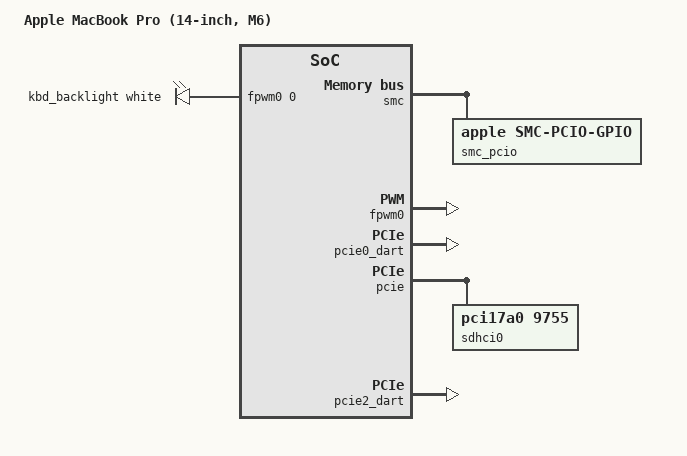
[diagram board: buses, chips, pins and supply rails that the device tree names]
// SPDX-License-Identifier: GPL-2.0+ OR MIT
/*
 * Apple MacBook Pro (14-inch, M6), J804.
 *
 * Booted from RAM by the loader (see t8152-common.dtsi). The console is the
 * framebuffer: the DockChannel UART has no reader on this board, so it stays
 * disabled. Resources follow the J804 ADT.
 */
/dts-v1/;

#include "t8152-common.dtsi"
#include <dt-bindings/leds/common.h>

/ {
	compatible = "apple,j804", "apple,t8152", "apple,arm-platform";
	model = "Apple MacBook Pro (14-inch, M6)";
	chassis-type = "laptop";

	/* Keyboard backlight: ADT fpwm0 kbd-backlight, 25 kHz. */
	led-controller {
		compatible = "pwm-leds";

		led-0 {
			pwms = <&fpwm0 0 40000>;
			label = "kbd_backlight";
			function = LED_FUNCTION_KBD_BACKLIGHT;
			color = <LED_COLOR_ID_WHITE>;
			max-brightness = <255>;
			default-state = "keep";
		};
	};
};

&pinctrl_ap {
	/* ADT no-restore-gpio-pins */
	gpio-reserved-ranges = <78 1>, <140 2>, <198 1>, <208 1>;
};

&smc {
	/*
	 * pcIO outputs. The trackpad's AFE reset is the ADT multi-touch
	 * function-afe-reset pKW8('pcIO', 0x10000, 0x1c0000): line 0.
	 */
	smc_pcio: gpio {
		compatible = "apple,smc-pcio-gpio";
		gpio-controller;
		#gpio-cells = <2>;
		apple,output-commands = /bits/ 64 <0x001c000000010000>;
	};
};

&smc_hwmon {
	/* One fan; mode key in lower case on T8152. */
	fan-F0Ac {
		apple,key-id = "F0Ac";
		apple,fan-minimum = "F0Mn";
		apple,fan-maximum = "F0Mx";
		apple,fan-target = "F0Tg";
		apple,fan-mode = "F0md";
		label = "Fan";
	};

	power-PSTR {
		apple,key-id = "PSTR";
		label = "Total System Power";
	};

	power-PDTR {
		apple,key-id = "PDTR";
		label = "AC Input Power";
	};

	power-PMVR {
		apple,key-id = "PMVR";
		label = "3.8 V Rail Power";
	};

	power-PHPC {
		apple,key-id = "PHPC";
		label = "Heatpipe Power";
	};

	voltage-VD0R {
		apple,key-id = "VD0R";
		label = "AC Input Voltage";
	};

	voltage-SBAV {
		apple,key-id = "SBAV";
		label = "Battery Voltage";
	};

	current-ID0R {
		apple,key-id = "ID0R";
		label = "AC Input Current";
	};
};

&{/soc} {
	/* J804 only: absent from the J833ct ADT. */
	fpwm0: pwm@331040000 {
		compatible = "apple,t8152-fpwm", "apple,s5l-fpwm";
		reg = <3 0x31040000 0 0x4000>;
		clocks = <&clkref>;
		#pwm-cells = <2>;
	};
};

/*
 * The N1 (Wi-Fi and Bluetooth) on apcie port 0. The J804 ADT's apcie,
 * pci-bridge0 (PERST# GPIO 3, CLKREQ# GPIO 0, gen 3), its three centauri
 * functions and dart-apcie0 match the J873g's, so the host and port come
 * from the shared t8152-n1.dtsi; pcie0_dart is t8152.dtsi's.
 */
#include "t8152-n1.dtsi"

/ {
	aliases {
		/* The loader fills the N1's factory addresses through these. */
		wifi0 = &n1_alpha;
		bluetooth0 = &n1_beta;
	};
};

&pcie0_dart {
	power-domains = <&ps_apcie_sys_gp>;
	status = "okay";
};

&pcie {
	power-domains = <&ps_apcie_sys_gp>;
};

&port00 {
	n1_alpha: wifi@0,1 {
		reg = <0x10100 0x0 0x0 0x0 0x0>;
		local-mac-address = [00 00 00 00 00 00];
	};

	n1_beta: bluetooth@0,2 {
		compatible = "pci106b,1903";
		reg = <0x10200 0x0 0x0 0x0 0x0>;
		local-bd-address = [00 00 00 00 00 00];
	};
};

/*
 * Secure Enclave (J804 ADT sep, dart-sep; PMGR SEP +0xc00, GPIO +0xb60).
 * The alias makes the loader reserve the SEP firmware and publish the boot
 * manifests on the node. The SEP and its DART stay disabled: apple_sep
 * enables them when it loads.
 */
/ {
	aliases {
		sep = &sep;
	};
};

&sep {
	power-domains = <&ps_sep>, <&ps_gpio>;
};

&sep_dart {
	power-domains = <&ps_sep>;
};

&sep_mbox {
	status = "okay";
};


/*
 * The SD card reader (ADT pci-bridge2/pcie-sdreader, a GL9755) on apcie
 * port 2, which the Mac mini does not have. The loader switches on its
 * power (the ADT's SMC function-sd_pwr_en) and trains the link (pci-bridge2
 * maximum-link-speed 1). From the J804 ADT: port 2's registers and PHY
 * lane, host interrupt 1587 (the third of apcie's per-port interrupts, the
 * driver indexes them by port number), PERST# GPIO 5 and dart-apcie2. Its
 * MSIs come from the host's shared range.
 */
&pcie {
	reg = <0x1c 0xb0000000 0x0 0x1000000>,
	      <0x3 0x8c000000 0x0 0x4000>,
	      <0x3 0x88028000 0x0 0x4000>,
	      <0x3 0x8f010000 0x0 0x4000>,
	      <0x3 0x8a028000 0x0 0x4000>,
	      <0x3 0x8f018000 0x0 0x4000>;
	reg-names = "config", "rc", "port0", "phy0", "port2", "phy2";
	interrupts = <AIC_IRQ 1571 IRQ_TYPE_LEVEL_HIGH>,
		     <AIC_IRQ 1579 IRQ_TYPE_LEVEL_HIGH>,
		     <AIC_IRQ 1587 IRQ_TYPE_LEVEL_HIGH>;
	iommu-map = <0x100 &pcie0_dart 1 1>,
		    <0x101 &pcie0_dart 2 1>,
		    <0x102 &pcie0_dart 3 1>,
		    <0x200 &pcie2_dart 1 1>;
	bus-range = <0 2>;

	/* PERST#: ADT pci-bridge2 function-perst, GPIO 5 */
	port02: pci@2,0 {
		device_type = "pci";
		reg = <0x1000 0x0 0x0 0x0 0x0>;
		reset-gpios = <&pinctrl_ap 5 GPIO_ACTIVE_LOW>;
		max-link-speed = <1>;
		bus-range = <2 2>;
		#address-cells = <3>;
		#size-cells = <2>;
		ranges;
		interrupt-controller;
		#interrupt-cells = <1>;
		interrupt-map-mask = <0 0 0 7>;
		interrupt-map = <0 0 0 1 &port02 0 0 0 0>,
				<0 0 0 2 &port02 0 0 0 1>,
				<0 0 0 3 &port02 0 0 0 2>,
				<0 0 0 4 &port02 0 0 0 3>;

		/* Card detect and write protect active high (ADT *-polarity = 1) */
		sdhci0: mmc@0,0 {
			compatible = "pci17a0,9755";
			reg = <0x20000 0x0 0x0 0x0 0x0>;
			cd-inverted;
			wp-inverted;
		};
	};
};

&pcie2_dart {
	power-domains = <&ps_apcie_sys_gp>;
	status = "okay";
};

/* Unexposed chassis port instances remain described and disabled. */
